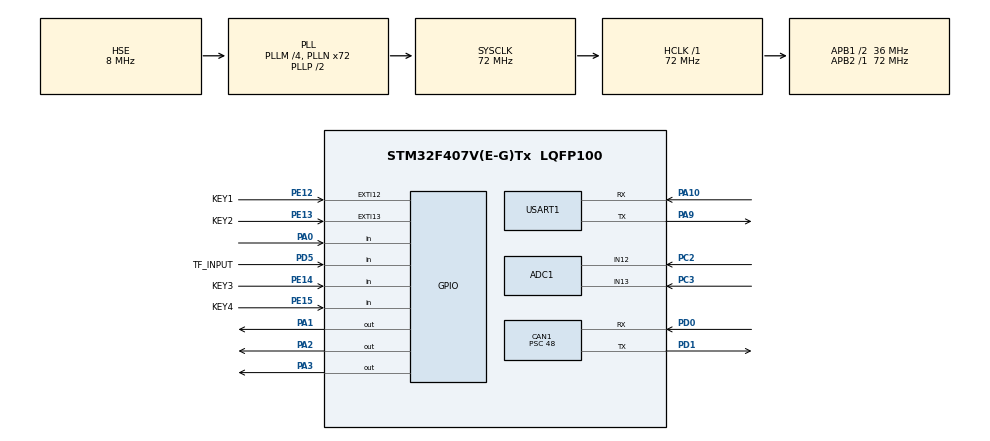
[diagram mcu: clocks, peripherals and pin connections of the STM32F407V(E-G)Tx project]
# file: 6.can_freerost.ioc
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ADC1.Channel-0\#ChannelRegularConversion=ADC_CHANNEL_12
ADC1.Channel-1\#ChannelRegularConversion=ADC_CHANNEL_13
ADC1.ClockPrescaler=ADC_CLOCK_SYNC_PCLK_DIV4
ADC1.ContinuousConvMode=ENABLE
ADC1.DMAContinuousRequests=ENABLE
ADC1.NbrOfConversion=2
ADC1.NbrOfConversionFlag=1
ADC1.Rank-0\#ChannelRegularConversion=1
ADC1.Rank-1\#ChannelRegularConversion=2
ADC1.SamplingTime-0\#ChannelRegularConversion=ADC_SAMPLETIME_144CYCLES
ADC1.SamplingTime-1\#ChannelRegularConversion=ADC_SAMPLETIME_144CYCLES
ADC1.ScanConvMode=ENABLE
ADC1.master=1
CAN1.BS1=CAN_BS1_2TQ
CAN1.BS2=CAN_BS2_3TQ
CAN1.CalculateBaudRate=124999
CAN1.CalculateTimeBit=8000
CAN1.CalculateTimeQuantum=1333.3333333333335
CAN1.Prescaler=48
CAN1.SJW=CAN_SJW_2TQ
Dma.ADC1.0.Direction=DMA_PERIPH_TO_MEMORY
Dma.ADC1.0.FIFOMode=DMA_FIFOMODE_DISABLE
Dma.ADC1.0.Instance=DMA2_Stream0
Dma.ADC1.0.MemDataAlignment=DMA_MDATAALIGN_HALFWORD
Dma.ADC1.0.MemInc=DMA_MINC_ENABLE
Dma.ADC1.0.Mode=DMA_CIRCULAR
Dma.ADC1.0.PeriphDataAlignment=DMA_PDATAALIGN_HALFWORD
Dma.ADC1.0.PeriphInc=DMA_PINC_DISABLE
Dma.ADC1.0.Priority=DMA_PRIORITY_HIGH
Dma.Request0=ADC1
FREERTOS.Tasks01=defaultTask,24,128,StartDefaultTask,Default,NULL,Dynamic,NULL,NULL;myTask02,8,128,StartTask02,Default,NULL,Dynamic,NULL,NULL
FREERTOS.configUSE_NEWLIB_REENTRANT=1
Mcu.Family=STM32F4
Mcu.Name=STM32F407V(E-G)Tx
Mcu.Package=LQFP100
NVIC.CAN1_RX0_IRQn=true\:5\:0\:true\:false\:true\:true\:true\:true\:true
NVIC.DMA2_Stream0_IRQn=true\:5\:0\:true\:false\:true\:true\:false\:true\:true
NVIC.EXTI15_10_IRQn=true\:5\:0\:false\:false\:true\:true\:true\:true\:true
NVIC.PriorityGroup=NVIC_PRIORITYGROUP_4
NVIC.TIM2_IRQn=true\:5\:0\:false\:false\:true\:true\:true\:true\:true
NVIC.TIM7_IRQn=true\:1\:0\:true\:false\:true\:false\:false\:true\:true
NVIC.TimeBase=TIM7_IRQn
NVIC.TimeBaseIP=TIM7
PA0-WKUP.GPIO_Mode=GPIO_MODE_INPUT
PA0-WKUP.GPIO_PuPd=GPIO_PULLUP
PA0-WKUP.Signal=GPIO_Input
PA1.PinState=GPIO_PIN_SET
PA1.Signal=GPIO_Output
PA10.Mode=Asynchronous
PA10.Signal=USART1_RX
PA2.PinState=GPIO_PIN_SET
PA2.Signal=GPIO_Output
PA3.PinState=GPIO_PIN_SET
PA3.Signal=GPIO_Output
PA9.Mode=Asynchronous
PA9.Signal=USART1_TX
PC14-OSC32_IN.Mode=LSE-External-Oscillator
PC14-OSC32_IN.Signal=RCC_OSC32_IN
PC15-OSC32_OUT.Mode=LSE-External-Oscillator
PC15-OSC32_OUT.Signal=RCC_OSC32_OUT
PC2.Signal=ADCx_IN12
PC3.Signal=ADCx_IN13
PD0.Mode=CAN_Activate
PD0.Signal=CAN1_RX
PD1.Mode=CAN_Activate
PD1.Signal=CAN1_TX
PD5.GPIO_Label=TF_INPUT
PD5.GPIO_PuPd=GPIO_PULLUP
PD5.Signal=GPIO_Input
PE12.GPIO_Label=KEY1
PE12.GPIO_ModeDefaultEXTI=GPIO_MODE_IT_FALLING
PE12.GPIO_PuPd=GPIO_PULLUP
PE12.Signal=GPXTI12
PE13.GPIO_Label=KEY2
PE13.GPIO_ModeDefaultEXTI=GPIO_MODE_IT_FALLING
PE13.GPIO_PuPd=GPIO_PULLUP
PE13.Signal=GPXTI13
PE14.GPIO_Label=KEY3
PE14.GPIO_PuPd=GPIO_PULLUP
PE14.Signal=GPIO_Input
PE15.GPIO_Label=KEY4
PE15.GPIO_PuPd=GPIO_PULLUP
PE15.Signal=GPIO_Input
PH0-OSC_IN.Mode=HSE-External-Oscillator
PH0-OSC_IN.Signal=RCC_OSC_IN
PH1-OSC_OUT.Mode=HSE-External-Oscillator
PH1-OSC_OUT.Signal=RCC_OSC_OUT
ProjectManager.HeapSize=0x1000
ProjectManager.StackSize=0x1000
ProjectManager.TargetToolchain=STM32CubeIDE
RCC.48MHZClocksFreq_Value=48000000
RCC.AHBFreq_Value=72000000
RCC.APB1CLKDivider=RCC_HCLK_DIV2
RCC.APB1Freq_Value=36000000
RCC.APB1TimFreq_Value=72000000
RCC.APB2Freq_Value=72000000
RCC.APB2TimFreq_Value=72000000
RCC.CortexFreq_Value=72000000
RCC.HCLKFreq_Value=72000000
RCC.HSE_VALUE=8000000
RCC.HSI_VALUE=16000000
RCC.PLLM=4
RCC.PLLN=72
RCC.PLLQ=3
RCC.PLLSourceVirtual=RCC_PLLSOURCE_HSE
RCC.RCC_RTC_Clock_SourceVirtual=RCC_RTCCLKSOURCE_LSE
RCC.SYSCLKFreq_VALUE=72000000
RCC.SYSCLKSource=RCC_SYSCLKSOURCE_PLLCLK
RCC.VCOOutputFreq_Value=144000000
SH.ADCx_IN12.0=ADC1_IN12,IN12
SH.ADCx_IN13.0=ADC1_IN13,IN13
TIM2.Period=7199
TIM2.Prescaler=9999
USART1.VirtualMode=VM_ASYNC
VP_FREERTOS_VS_CMSIS_V2.Mode=CMSIS_V2
VP_SYS_VS_tim7.Mode=TIM7
VP_TIM2_VS_ClockSourceINT.Mode=Internal
board=custom

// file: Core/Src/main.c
/* USER CODE BEGIN Header */
/**
  ******************************************************************************
  * @file           : main.c
  * @brief          : Main program body
  ******************************************************************************
  * @attention
  *
  * Copyright (c) 2026 STMicroelectronics.
  * All rights reserved.
  *
  * This software is licensed under terms that can be found in the LICENSE file
  * in the root directory of this software component.
  * If no LICENSE file comes with this software, it is provided AS-IS.
  *
  ******************************************************************************
  */
/* USER CODE END Header */
#include "main.h"
#include "cmsis_os.h"
#include "adc.h"
#include "can.h"
#include "dma.h"
#include "tim.h"
#include "usart.h"
#include "gpio.h"

/* USER CODE BEGIN Includes */
#include "../../icode/led/led.h"
#include "../../icode/delay/delay.h"
#include "../../icode/key/key.h"
#include "../../icode/usart/myusart.h"
#include "../../icode/adc/adc.h"
#include "../../icode/MyCAN/MyCAN.h"
#include "../../icode/DHT11/DHT11.h"

/* USER CODE END Includes */

/* USER CODE BEGIN PTD */
#define SensorCount 	2
#define TxMsgLedCount 	5
/* USER CODE END PTD */

/* USER CODE BEGIN PM */
uint8_t box[1] = {0};
uint32_t TxMailbox, TxMailbox1, TxMailbox2;

uint8_t CAN_IT_RxFlag;
uint8_t RxMsg_ADUsartFlag;
uint8_t ADState;
uint8_t ADprocess = 1;

uint8_t KeyNumStop;
uint8_t KeyNumLed;
uint8_t KeyStopFlag;
uint8_t KeyLedFlag;

uint8_t TimerFlag;

CAN_TxHeaderTypeDef TxMsgStartStop[] = {
{.StdId = 0x999, .ExtId = 0x00000000, .IDE = CAN_ID_STD, .RTR = CAN_RTR_REMOTE,
		.DLC = 1, .TransmitGlobalTime = DISABLE},
{.StdId = 0x998, .ExtId = 0x00000000, .IDE = CAN_ID_STD, .RTR = CAN_RTR_REMOTE,
		.DLC = 1, .TransmitGlobalTime = DISABLE}
};

CAN_TxHeaderTypeDef TxMsgLedArray[] = {
/*	StdId	ExtId			IDE				RTR		   DLC			Data[8]	*/
{ .StdId = 0x501, .ExtId = 0x00000000, .IDE = CAN_ID_STD, .RTR = CAN_RTR_DATA,
		.DLC = 1, .TransmitGlobalTime = DISABLE },

{ .StdId = 0x502, .ExtId = 0x00000000, .IDE = CAN_ID_STD, .RTR = CAN_RTR_DATA,
		.DLC = 1, .TransmitGlobalTime = DISABLE },

{ .StdId = 0x503, .ExtId = 0x00000000, .IDE = CAN_ID_STD, .RTR = CAN_RTR_DATA,
		.DLC = 1, .TransmitGlobalTime = DISABLE },

{ .StdId = 0x504, .ExtId = 0x00000000, .IDE = CAN_ID_STD, .RTR = CAN_RTR_DATA,
		.DLC = 1, .TransmitGlobalTime = DISABLE },

{ .StdId = 0x505, .ExtId = 0x00000000, .IDE = CAN_ID_STD, .RTR = CAN_RTR_DATA,
		.DLC = 1, .TransmitGlobalTime = DISABLE },
};

uint8_t TxDataLEDArray[5][8] = {
    {0x01, 0x00, 0x00, 0x00},           // 第1帧的数据
    {0x01, 0x00, 0x00, 0x00},           // 第2帧的数据
    {0x01, 0x00, 0x00, 0x00},           // 第3帧的数据
    {0x01, 0x00, 0x00, 0x00},            // 第4帧的数据
    {0x00, 0x00, 0x00, 0x00}            // 第5帧远程帧，无数据
};

CAN_TxHeaderTypeDef	TxMsgAD1 = {
		.StdId = 0x001,
		.ExtId = 0x00000000,
		.IDE = CAN_ID_STD,
		.RTR = CAN_RTR_REMOTE,
		.DLC = 1,
		.TransmitGlobalTime = DISABLE
};

CAN_TxHeaderTypeDef	TxMsgAD2 = {
		.StdId = 0x002,
		.ExtId = 0x00000000,
		.IDE = CAN_ID_STD,
		.RTR = CAN_RTR_REMOTE,
		.DLC = 1,
		.TransmitGlobalTime = DISABLE
};

uint8_t TxDataAD[1][8] = {{0x00, 0x00, 0x00, 0x00}};

CAN_TxHeaderTypeDef *TxMsgADs[SensorCount] = {&TxMsgAD1, &TxMsgAD2};
uint32_t *TxMailboxes[SensorCount] = {&TxMailbox1, &TxMailbox2};
uint8_t Sensor_Index = 0;

CAN_RxHeaderTypeDef RxHeaderQueue[8];
uint8_t RxDataQueue[8][8];
uint8_t RxHead;
uint8_t RxTail;
/* USER CODE END PM */

/* USER CODE BEGIN PV */

//osThreadId_t TaskKeyHandle;
//osThreadId_t TaskSensorTxHandle;
//osThreadId_t TaskRxHandle;

osMutexId_t PrintMutexHandle;

#define PRINT_QUEUE_SIZE 32
#define PRINT_MSG_MAX_LEN 128

osMessageQueueId_t PrintQueueHandle;

typedef struct {
    char msg[PRINT_MSG_MAX_LEN];
} PrintMsg_t;
/* USER CODE END PV */

void SystemClock_Config(void);
void MX_FREERTOS_Init(void);

/* USER CODE BEGIN 0 */

// 非阻塞打印函数
void UART_Printf(const char *format, ...)
{
    PrintMsg_t printMsg;
    va_list args;
    va_start(args, format);
    vsnprintf(printMsg.msg, PRINT_MSG_MAX_LEN, format, args);
    va_end(args);

    osMessageQueuePut(PrintQueueHandle, &printMsg, 0, 0);
}

// 打印任务——用你的快速 fputc 发送
void Task_Printf(void *argument)
{
    PrintMsg_t printMsg;
    for (;;)
    {
        if (osMessageQueueGet(PrintQueueHandle, &printMsg, NULL, osWaitForever) == osOK)
        {
            char *p = printMsg.msg;
            while (*p)
            {
                while((huart1.Instance->SR & USART_SR_TXE) == 0);
                huart1.Instance->DR = *p++;
            }
        }
    }
}

void Task_KeyScan(void *argument)
{
	for (;;) {

		if (KeyStopFlag == 1) {
			KeyStopFlag = 0;
			KeyNumStop++;
			if (KeyNumStop >= 3) {
				KeyNumStop = 0;
			}
			switch (KeyNumStop) {
			case 0:
				HAL_CAN_Start(&hcan1);
				MyCAN_Tx(&hcan1, &TxMsgStartStop[0], TxDataAD, &TxMailbox, 1);
				break;
			case 1:
				HAL_CAN_Stop(&hcan1);
				MyCAN_Tx(&hcan1, &TxMsgStartStop[1], TxDataAD, &TxMailbox, 1);
				KeyNumStop = 2;
				break;
			}
		}

		if (KeyLedFlag == 1) {
			KeyLedFlag = 0;

			if (KeyNumStop == 0)  // CAN 运行时才发
					{
				MyCAN_Tx(&hcan1, &TxMsgLedArray[KeyNumLed],
						&TxDataLEDArray[KeyNumLed], &TxMailbox, 1);
				KeyNumLed++;
				if (KeyNumLed >= TxMsgLedCount) {
					KeyNumLed = 0;
				}
			}

		}

		osDelay(20);
	}
}

void Task_SensorTx(void *argument)
{
	for (;;) {
		if (KeyNumStop == 0) {
			MyCAN_Tx(&hcan1, TxMsgADs[Sensor_Index], TxDataAD,
					TxMailboxes[Sensor_Index], 1);

			Sensor_Index++;
			if (Sensor_Index >= SensorCount) {
				Sensor_Index = 0;
			}

		}

		osDelay(1000);
	}
}

void Task_CanRx(void *argument)
{
    for (;;) {
        while (RxHead != RxTail)
        {
            CAN_RxHeaderTypeDef *RxHeader = &RxHeaderQueue[RxHead];
            uint8_t *RxData = RxDataQueue[RxHead];

            if (RxHeader->IDE == CAN_ID_STD && RxHeader->RTR == CAN_RTR_DATA)
            {
                switch (RxHeader->StdId) {
                    case 0x011:
                        RxMsg_ADUsartFlag = 1;
                        ADState = 1;
                        break;
                    case 0x022:
                        RxMsg_ADUsartFlag = 1;
                        ADState = 2;
                        break;
                }
                MyCAN_RxPrintf(RxHeader, RxData);
            }

            // 移到外面！无论什么帧，都要消费掉
            RxHead = (RxHead + 1) % 8;
            osDelay(1);  // 每处理一帧让出 CPU
        }
        osDelay(10);
    }
}

int _write(int fd, char *ptr, int len)
{
    for (int i = 0; i < len; i++)
    {
        while (!(USART1->SR & USART_SR_TXE));
        USART1->DR = ptr[i];
    }
    return len;
}

/* USER CODE END 0 */

int main(void)
{

  /* USER CODE BEGIN 1 */
	// 初始化 DWT 用于微秒延时
//	CoreDebug->DEMCR |= CoreDebug_DEMCR_TRCENA_Msk;
//	DWT->CTRL |= DWT_CTRL_CYCCNTENA_Msk;
  /* USER CODE END 1 */

  /* MCU Configuration--------------------------------------------------------*/

  /* Reset of all peripherals, Initializes the Flash interface and the Systick. */
  HAL_Init();

  /* Configure the system clock */
  SystemClock_Config();

  /* Initialize all configured peripherals */
  MX_GPIO_Init();
  MX_DMA_Init();
  MX_TIM2_Init();
  MX_USART1_UART_Init();
  MX_ADC1_Init();
  MX_CAN1_Init();
  /* USER CODE BEGIN 2 */
  HAL_TIM_Base_Start_IT(&htim2);
  HAL_UART_Receive_IT(&huart1, (uint8_t *)box, 1);

  uint8_t msg[] = "UASRT ok\r\n";
  HAL_UART_Transmit(&huart1, msg, sizeof(msg)-1, 1000);
//      HAL_ADC_Start_DMA(&hadc1, (uint32_t*)ADC_BUF, 2);  // ADC_BUF 是数组名，本身就是地址
//      HAL_DAC_Start_DMA(&hdac, DAC_CHANNEL_1, (uint32_t *)&ADC_BUF[1], 1, DAC_ALIGN_12B_R);
//      HAL_TIM_Base_Start(&htim4);

  HAL_CAN_Start(&hcan1);
  HAL_CAN_ActivateNotification(&hcan1, CAN_IT_RX_FIFO0_MSG_PENDING);

	// 创建三个任务（必须在 osKernelStart 之前）
//	const osThreadAttr_t default_attr = { .name = NULL, .priority =
//			osPriorityNormal, .stack_size = 512 };
//
//	osThreadNew(Task_KeyScan, NULL, &default_attr);
//	osThreadNew(Task_SensorTx, NULL, &default_attr);
//	osThreadNew(Task_CanRx, NULL, &default_attr);
//
//	USART_MutexHandle = osMutexNew(NULL);

//  // 创建打印队列
//  PrintQueueHandle = osMessageQueueNew(PRINT_QUEUE_SIZE, sizeof(PrintMsg_t), NULL);
//
//  // 打印任务（最低优先级）
//  const osThreadAttr_t printf_attr = { .name = "Printf", .priority = osPriorityLow, .stack_size = 512 };
//  osThreadNew(Task_Printf, NULL, &printf_attr);

  /* USER CODE END 2 */

  /* Init scheduler */
  osKernelInitialize();  /* Call init function for freertos objects (in cmsis_os2.c) */
  MX_FREERTOS_Init();

//	 创建三个任务（必须在 osKernelStart 之前）
	const osThreadAttr_t default_attr = { .name = NULL, .priority =
			osPriorityNormal, .stack_size = 512 };

	osThreadNew(Task_KeyScan, NULL, &default_attr);
	osThreadNew(Task_SensorTx, NULL, &default_attr);
	osThreadNew(Task_CanRx, NULL, &default_attr);

//	USART_MutexHandle = osMutexNew(NULL);

  // 创建打印队列
  PrintQueueHandle = osMessageQueueNew(PRINT_QUEUE_SIZE, sizeof(PrintMsg_t), NULL);

  // 打印任务（最低优先级）
  const osThreadAttr_t printf_attr = { .name = "Printf", .priority = osPriorityLow, .stack_size = 512 };
  osThreadNew(Task_Printf, NULL, &printf_attr);

  /* Start scheduler */
  osKernelStart();

  /* We should never get here as control is now taken by the scheduler */

  /* Infinite loop */
  while (1)
  {

  }
}

void SystemClock_Config(void)
{
  RCC_OscInitTypeDef RCC_OscInitStruct = {0};
  RCC_ClkInitTypeDef RCC_ClkInitStruct = {0};

  /** Configure the main internal regulator output voltage
  */
  __HAL_RCC_PWR_CLK_ENABLE();
  __HAL_PWR_VOLTAGESCALING_CONFIG(PWR_REGULATOR_VOLTAGE_SCALE1);

  /** Initializes the RCC Oscillators according to the specified parameters
  * in the RCC_OscInitTypeDef structure.
  */
  RCC_OscInitStruct.OscillatorType = RCC_OSCILLATORTYPE_HSE;
  RCC_OscInitStruct.HSEState = RCC_HSE_ON;
  RCC_OscInitStruct.PLL.PLLState = RCC_PLL_ON;
  RCC_OscInitStruct.PLL.PLLSource = RCC_PLLSOURCE_HSE;
  RCC_OscInitStruct.PLL.PLLM = 4;
  RCC_OscInitStruct.PLL.PLLN = 72;
  RCC_OscInitStruct.PLL.PLLP = RCC_PLLP_DIV2;
  RCC_OscInitStruct.PLL.PLLQ = 3;
  if (HAL_RCC_OscConfig(&RCC_OscInitStruct) != HAL_OK)
  {
    Error_Handler();
  }

  /** Initializes the CPU, AHB and APB buses clocks
  */
  RCC_ClkInitStruct.ClockType = RCC_CLOCKTYPE_HCLK|RCC_CLOCKTYPE_SYSCLK
                              |RCC_CLOCKTYPE_PCLK1|RCC_CLOCKTYPE_PCLK2;
  RCC_ClkInitStruct.SYSCLKSource = RCC_SYSCLKSOURCE_PLLCLK;
  RCC_ClkInitStruct.AHBCLKDivider = RCC_SYSCLK_DIV1;
  RCC_ClkInitStruct.APB1CLKDivider = RCC_HCLK_DIV2;
  RCC_ClkInitStruct.APB2CLKDivider = RCC_HCLK_DIV1;

  if (HAL_RCC_ClockConfig(&RCC_ClkInitStruct, FLASH_LATENCY_2) != HAL_OK)
  {
    Error_Handler();
  }
}

/* USER CODE BEGIN 4 */
void HAL_TIM_PeriodElapsedCallback(TIM_HandleTypeDef *htim)
{
	if (htim->Instance == TIM7)
	    {
	        HAL_IncTick();  // CubeMX 加的，必须保留
	    }

	if(htim == (&htim2))
		{
			TimerFlag = 1;
		}
}

void HAL_GPIO_EXTI_Callback(uint16_t GPIO_Pin)
{
	if (GPIO_Pin == KEY1_Pin) {
		HAL_NVIC_DisableIRQ(EXTI15_10_IRQn);

		if (KEY_1()) {
			KeyStopFlag = 1;
		}

		HAL_NVIC_EnableIRQ(EXTI15_10_IRQn);

	}
	if (GPIO_Pin == KEY2_Pin) {
		if (KEY_2()) {
			KeyLedFlag = 1;
		}
	}
//
//	if (GPIO_Pin == KEY1_Pin)
//	    {
//	        KeyStopFlag = 1;
//	    }
//	    if (GPIO_Pin == KEY2_Pin)
//	    {
//	        KeyLedFlag = 1;
//	    }
}

void HAL_CAN_RxFifo0MsgPendingCallback(CAN_HandleTypeDef *hcan)
{
	uint8_t RxTailNext = (RxTail + 1) % 8;
	if(RxTailNext != RxHead)					// 判断队列是否满（下一个写入位置追上了读取位置）
	{
		if (HAL_CAN_GetRxMessage(hcan, CAN_RX_FIFO0, &RxHeaderQueue[RxTail],RxDataQueue[RxTail]) == HAL_OK) {

//			USART1_printf("CAN ID: 0x%03lX\r\n", RxHeaderQueue[RxTail].StdId);
			RxTail = RxTailNext;
		}
	}
	else
	{
		CAN_RxHeaderTypeDef RxMsgTrash;
		uint8_t RxDataTrash[8];
		HAL_CAN_GetRxMessage(hcan, CAN_RX_FIFO0, &RxMsgTrash, RxDataTrash);
	}

}

/* USER CODE END 4 */

void Error_Handler(void)
{
  __disable_irq();
  while (1)
  {
  }
}

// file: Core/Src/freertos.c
/* USER CODE BEGIN Header */
/**
  ******************************************************************************
  * File Name          : freertos.c
  * Description        : Code for freertos applications
  ******************************************************************************
  * @attention
  *
  * Copyright (c) 2026 STMicroelectronics.
  * All rights reserved.
  *
  * This software is licensed under terms that can be found in the LICENSE file
  * in the root directory of this software component.
  * If no LICENSE file comes with this software, it is provided AS-IS.
  *
  ******************************************************************************
  */
/* USER CODE END Header */

#include "FreeRTOS.h"
#include "task.h"
#include "main.h"
#include "cmsis_os.h"

/* Definitions for defaultTask */
osThreadId_t defaultTaskHandle;
const osThreadAttr_t defaultTask_attributes = {
  .name = "defaultTask",
  .stack_size = 128 * 4,
  .priority = (osPriority_t) osPriorityNormal,
};
/* Definitions for myTask02 */
osThreadId_t myTask02Handle;
const osThreadAttr_t myTask02_attributes = {
  .name = "myTask02",
  .stack_size = 128 * 4,
  .priority = (osPriority_t) osPriorityLow,
};

void StartDefaultTask(void *argument);
void StartTask02(void *argument);

void MX_FREERTOS_Init(void); /* (MISRA C 2004 rule 8.1) */

void MX_FREERTOS_Init(void) {

  /* Create the thread(s) */
  /* creation of defaultTask */
  defaultTaskHandle = osThreadNew(StartDefaultTask, NULL, &defaultTask_attributes);

  /* creation of myTask02 */
  myTask02Handle = osThreadNew(StartTask02, NULL, &myTask02_attributes);

}

void StartDefaultTask(void *argument)
{
  for(;;)
  {
    osDelay(1);
  }
}

void StartTask02(void *argument)
{
  for(;;)
  {
    osDelay(1);
  }
}
